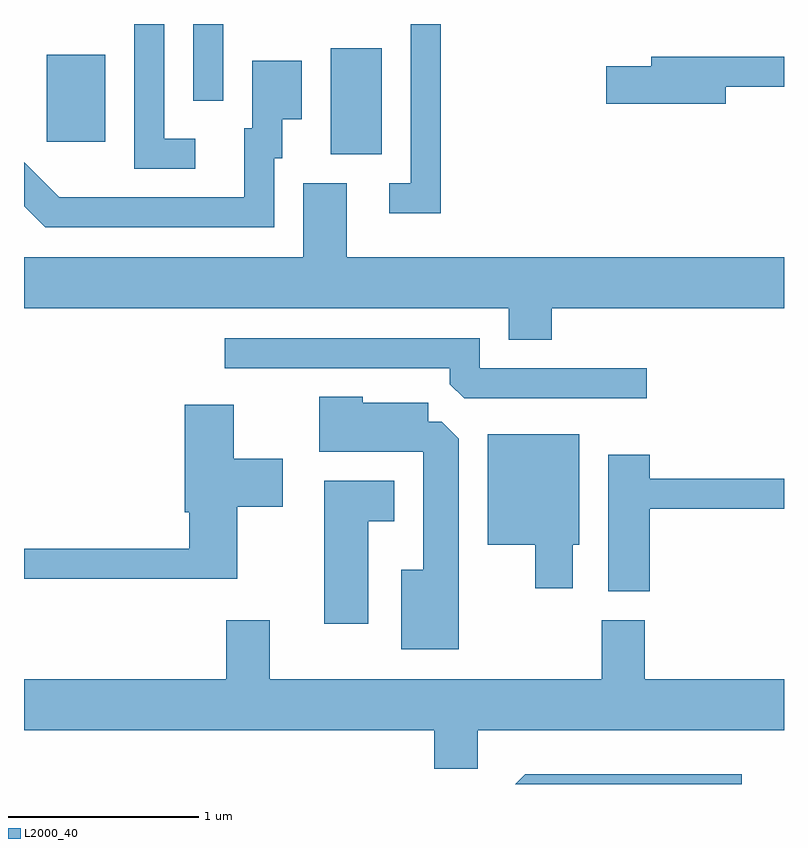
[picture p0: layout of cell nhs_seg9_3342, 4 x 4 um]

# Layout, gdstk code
import gdstk
lib = gdstk.Library(unit=1e-6, precision=1e-09)
def R(c, l, rs):  # rectangles x0, y0, x1, y1
    for r in rs: c.add(gdstk.rectangle(r[:2], r[2:], *l))
def P(c, l, *ps):  # polygons
    for p in ps: c.add(gdstk.Polygon(p, *l))
L2000_40 = (2000, 40)

nhs_seg9_3342 = lib.new_cell('nhs_seg9_3342')
R(nhs_seg9_3342, L2000_40, [(285.226,1983.746,285.494,1984.304), (283.731,1983.811,284.039,1984.269), (284.501,1984.028,284.659,1984.432)])
P(nhs_seg9_3342, L2000_40, [(285.804,1984.432),(285.646,1984.432),(285.646,1983.594),(285.533,1983.594),(285.533,1983.436),(285.804,1983.436)],
  [(284.513,1983.829),(284.349,1983.829),(284.349,1984.432),(284.191,1984.432),(284.191,1983.671),(284.513,1983.671)],
  [(287.304,1984.101),(287.611,1984.101),(287.611,1984.259),(286.911,1984.259),(286.911,1984.209),(286.676,1984.209),(286.676,1984.011),(287.304,1984.011)],
  [(284.929,1983.726),(284.969,1983.726),(284.969,1983.931),(285.074,1983.931),(285.074,1984.239),(284.811,1984.239),(284.811,1983.884),(284.771,1983.884),(284.771,1983.519),(283.797,1983.519),(283.611,1983.705),(283.611,1983.474),(283.724,1983.361),(284.929,1983.361)],
  [(286.389,1982.936),(287.611,1982.936),(287.611,1983.204),(285.309,1983.204),(285.309,1983.594),(285.081,1983.594),(285.081,1983.204),(283.611,1983.204),(283.611,1982.936),(286.161,1982.936),(286.161,1982.771),(286.389,1982.771)],
  [(286.888,1982.619),(286.009,1982.619),(286.009,1982.779),(284.668,1982.779),(284.668,1982.621),(285.851,1982.621),(285.851,1982.537),(285.927,1982.461),(286.888,1982.461)],
  [(285.899,1982.249),(285.809,1982.339),(285.739,1982.339),(285.739,1982.439),(285.394,1982.439),(285.394,1982.469),(285.166,1982.469),(285.166,1982.181),(285.711,1982.181),(285.711,1981.559),(285.596,1981.559),(285.596,1981.141),(285.899,1981.141)],
  [(284.734,1981.891),(284.974,1981.891),(284.974,1982.144),(284.714,1982.144),(284.714,1982.429),(284.456,1982.429),(284.456,1981.861),(284.481,1981.861),(284.481,1981.669),(283.611,1981.669),(283.611,1981.511),(284.734,1981.511)],
  [(286.499,1981.691),(286.534,1981.691),(286.534,1982.274),(286.051,1982.274),(286.051,1981.691),(286.301,1981.691),(286.301,1981.461),(286.499,1981.461)],
  [(286.904,1981.881),(287.611,1981.881),(287.611,1982.039),(286.904,1982.039),(286.904,1982.164),(286.686,1982.164),(286.686,1981.446),(286.904,1981.446)],
  [(285.424,1981.816),(285.559,1981.816),(285.559,1982.029),(285.191,1982.029),(285.191,1981.276),(285.424,1981.276)],
  [(285.999,1980.716),(287.611,1980.716),(287.611,1980.984),(286.879,1980.984),(286.879,1981.294),(286.651,1981.294),(286.651,1980.984),(284.904,1980.984),(284.904,1981.294),(284.676,1981.294),(284.676,1980.984),(283.611,1980.984),(283.611,1980.716),(285.771,1980.716),(285.771,1980.511),(285.999,1980.511)],
  [(287.388,1980.484),(286.249,1980.484),(286.197,1980.432),(287.388,1980.432)])

lib.write_gds('nhs_seg9_3342.gds')
